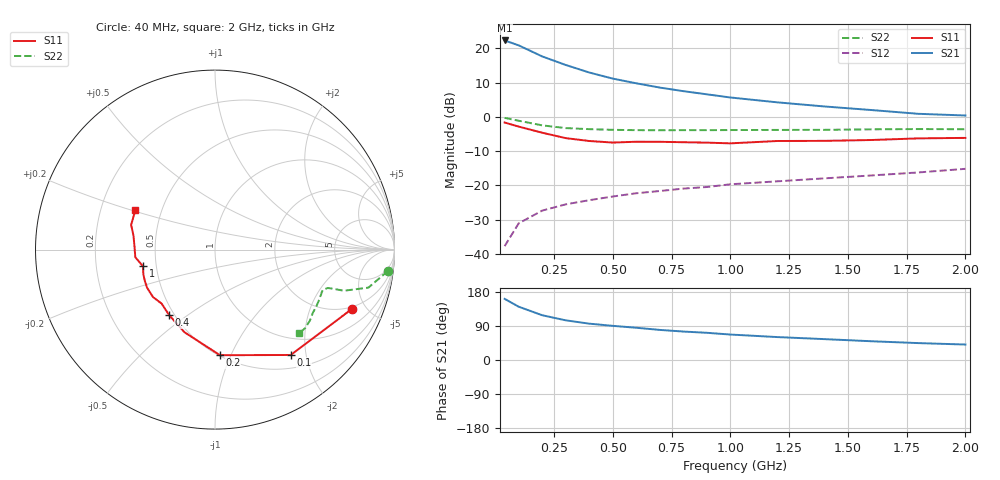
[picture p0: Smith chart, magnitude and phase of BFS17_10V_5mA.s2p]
! Filename:  BFS17G.S2P  Version:  2.0
! Philips part #: BFS17  Date: Jun 1990
! Bias condition: Vce=10V, Ic=5mA
#  MHz  S  MA  R  50
! Freq  S11  S21  S12  S22  !GUM [dB]
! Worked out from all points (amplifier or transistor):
!   16 points, 40 MHz to 2 GHz, reference 50 ohm
!   highest |S21| = 22.3 dB at 40 MHz (marker M1)
!   |S21| within 3 dB of that: start of sweep to 148.4 MHz
!   unconditionally stable (mu >= 1): 689.5 MHz to 1.779 GHz
!   at 200 MHz: K = 0.53, MSG = 22.5 dB, |S12| = -27.3 dB
!   at 800 MHz: K = 1.04, MAG = 13.1 dB, |S12| = -20.9 dB
!   at 2 GHz: K = 0.92, MSG = 7.8 dB, |S12| = -15.1 dB
!   S11 on the Smith chart (normalised r, x): 40 MHz: 1.85, -3.96; 100 MHz: 0.70, -1.73; 200 MHz: 0.51, -0.91; 400 MHz: 0.47, -0.43; 1 GHz: 0.42, -0.09; 2 GHz: 0.35, +0.20
40  0.83 -23.6  13.09 161.3  0.013 74.3  0.97 -7.1
100  0.723 -54.3  11.1 140.6  0.028 64.3  0.881 -13.9
200  0.589 -87.3  7.65 118.1  0.043 55.6  0.754 -17.7
300  0.491 -110.2  5.743 104.7  0.053 54.7  0.688 -18.4
400  0.446 -124.8  4.457 95.9  0.061 56.2  0.664 -18.8
500  0.423 -134.7  3.632 90.1  0.069 58.0  0.649 -19.8
600  0.435 -142.5  3.101 85.1  0.077 57.9  0.642 -20.5
700  0.434 -150.7  2.686 79.4  0.083 58.6  0.64 -21.8
800  0.428 -156.1  2.382 75.1  0.09 60.2  0.642 -22.9
900  0.422 -161.1  2.142 71.8  0.095 61.4  0.642 -24.2
1000  0.412 -167.0  1.926 67.2  0.104 62.6  0.644 -25.6
1200  0.446 -174.5  1.635 60.5  0.115 65.4  0.647 -29.0
1400  0.448 178.8  1.424 55.1  0.127 67.7  0.649 -32.8
1600  0.461 170.2  1.263 49.5  0.14 70.7  0.66 -36.7
1800  0.487 163.6  1.112 44.6  0.155 74.1  0.666 -40.9
2000  0.495 153.8  1.051 40.8  0.175 76.5  0.662 -44.9
